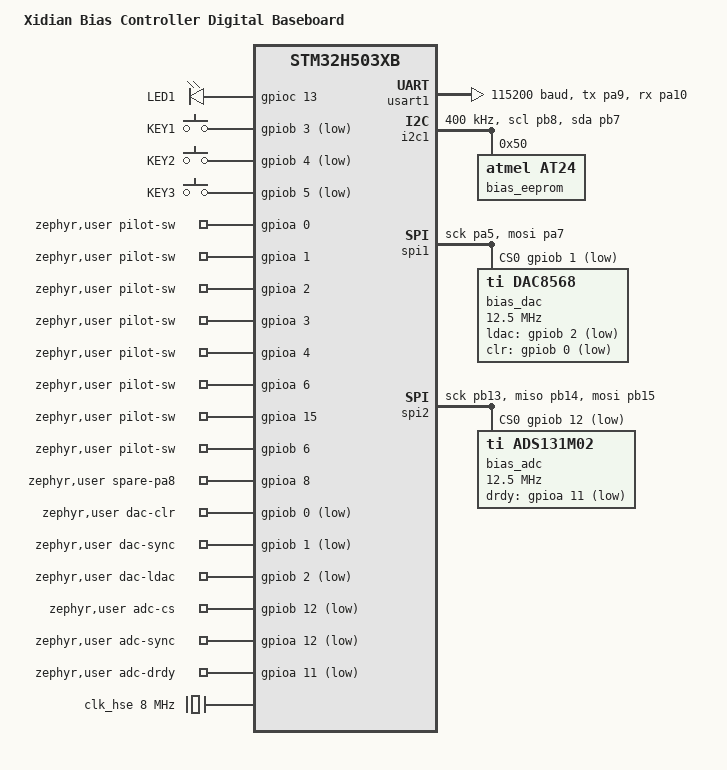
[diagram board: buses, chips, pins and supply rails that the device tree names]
/* SPDX-License-Identifier: Apache-2.0 */

/dts-v1/;
#include <st/h5/stm32h503Xb.dtsi>
#include <st/h5/stm32h503cbtx-pinctrl.dtsi>
#include <zephyr/dt-bindings/dma/stm32_dma.h>
#include <zephyr/dt-bindings/gpio/stm32-gpio.h>
#include <zephyr/dt-bindings/input/input-event-codes.h>

/ {
	model = "Xidian Bias Controller Digital Baseboard";
	compatible = "xidian,biasctrl-h503";

	chosen {
		zephyr,console = &usart1;
		zephyr,shell-uart = &usart1;
		zephyr,sram = &sram0;
		zephyr,flash = &flash0;
	};

	aliases {
		led0 = &led1;
		sw0 = &key1;
		sw1 = &key2;
		sw2 = &key3;
	};

	leds {
		compatible = "gpio-leds";

		led1: led-1 {
			gpios = <&gpioc 13 GPIO_ACTIVE_HIGH>;
			label = "LED1";
		};
	};

	keys {
		compatible = "gpio-keys";

		key1: key-1 {
			gpios = <&gpiob 3 (GPIO_PULL_UP | GPIO_ACTIVE_LOW)>;
			zephyr,code = <INPUT_KEY_1>;
			label = "KEY1";
		};
		key2: key-2 {
			gpios = <&gpiob 4 (GPIO_PULL_UP | GPIO_ACTIVE_LOW)>;
			zephyr,code = <INPUT_KEY_2>;
			label = "KEY2";
		};
		key3: key-3 {
			gpios = <&gpiob 5 (GPIO_PULL_UP | GPIO_ACTIVE_LOW)>;
			zephyr,code = <INPUT_KEY_3>;
			label = "KEY3";
		};
	};

	zephyr,user {
		pilot-sw-gpios = <&gpioa 0 (GPIO_ACTIVE_HIGH | STM32_GPIO_LOW_SPEED)>,
				 <&gpioa 1 (GPIO_ACTIVE_HIGH | STM32_GPIO_LOW_SPEED)>,
				 <&gpioa 2 (GPIO_ACTIVE_HIGH | STM32_GPIO_LOW_SPEED)>,
				 <&gpioa 3 (GPIO_ACTIVE_HIGH | STM32_GPIO_LOW_SPEED)>,
				 <&gpioa 4 (GPIO_ACTIVE_HIGH | STM32_GPIO_LOW_SPEED)>,
				 <&gpioa 6 (GPIO_ACTIVE_HIGH | STM32_GPIO_LOW_SPEED)>,
				 <&gpioa 15 (GPIO_ACTIVE_HIGH | STM32_GPIO_LOW_SPEED)>,
				 <&gpiob 6 (GPIO_ACTIVE_HIGH | STM32_GPIO_LOW_SPEED)>;
		spare-pa8-gpios = <&gpioa 8 (GPIO_ACTIVE_HIGH | STM32_GPIO_LOW_SPEED)>;
		dac-clr-gpios = <&gpiob 0 (GPIO_ACTIVE_LOW | STM32_GPIO_LOW_SPEED)>;
		dac-sync-gpios = <&gpiob 1 (GPIO_ACTIVE_LOW | STM32_GPIO_LOW_SPEED)>;
		dac-ldac-gpios = <&gpiob 2 (GPIO_ACTIVE_LOW | STM32_GPIO_LOW_SPEED)>;
		adc-cs-gpios = <&gpiob 12 (GPIO_ACTIVE_LOW | STM32_GPIO_LOW_SPEED)>;
		adc-sync-gpios = <&gpioa 12 (GPIO_ACTIVE_LOW | STM32_GPIO_LOW_SPEED)>;
		adc-drdy-gpios = <&gpioa 11 (GPIO_ACTIVE_LOW | STM32_GPIO_LOW_SPEED)>;
	};
};

&clk_hse {
	clock-frequency = <DT_FREQ_M(8)>;
	status = "okay";
};

&pll {
	clocks = <&clk_hse>;
	div-m = <2>;
	mul-n = <125>;
	div-p = <2>;
	div-q = <5>;
	div-r = <2>;
	status = "okay";
};

&rcc {
	clocks = <&pll>;
	clock-frequency = <DT_FREQ_M(250)>;
	ahb-prescaler = <1>;
	apb1-prescaler = <1>;
	apb2-prescaler = <1>;
	apb3-prescaler = <1>;
};

&usart1 {
	pinctrl-0 = <&usart1_tx_pa9 &usart1_rx_pa10>;
	pinctrl-names = "default";
	current-speed = <115200>;
	status = "okay";
};

&i2c1 {
	pinctrl-0 = <&i2c1_scl_pb8 &i2c1_sda_pb7>;
	pinctrl-names = "default";
	clock-frequency = <I2C_BITRATE_FAST>;
	status = "okay";

	bias_eeprom: eeprom@50 {
		compatible = "atmel,at24";
		reg = <0x50>;
		size = <256>;
		pagesize = <8>;
		address-width = <8>;
		timeout = <5>;
	};
};

&gpdma1 {
	status = "okay";
};

&spi1 {
	pinctrl-0 = <&spi1_sck_pa5 &spi1_mosi_pa7>;
	pinctrl-names = "default";
	cs-gpios = <&gpiob 1 (GPIO_ACTIVE_LOW | STM32_GPIO_LOW_SPEED)>;
	dmas = <&gpdma1 0 7 STM32_DMA_PERIPH_TX>,
	       <&gpdma1 1 6 STM32_DMA_PERIPH_RX>;
	dma-names = "tx", "rx";
	status = "okay";

	bias_dac: dac@0 {
		compatible = "ti,dac8568";
		reg = <0>;
		spi-max-frequency = <12500000>;
		spi-cpha;
		ldac-gpios = <&gpiob 2 (GPIO_ACTIVE_LOW | STM32_GPIO_LOW_SPEED)>;
		clr-gpios = <&gpiob 0 (GPIO_ACTIVE_LOW | STM32_GPIO_LOW_SPEED)>;
	};
};

&spi2 {
	pinctrl-0 = <&spi2_sck_pb13 &spi2_miso_pb14 &spi2_mosi_pb15>;
	pinctrl-names = "default";
	cs-gpios = <&gpiob 12 (GPIO_ACTIVE_LOW | STM32_GPIO_LOW_SPEED)>;
	dmas = <&gpdma1 2 9 (STM32_DMA_PERIPH_TX | STM32_DMA_PRIORITY_HIGH)>,
	       <&gpdma1 3 8 (STM32_DMA_PERIPH_RX | STM32_DMA_PRIORITY_HIGH)>;
	dma-names = "tx", "rx";
	status = "okay";

	bias_adc: adc@0 {
		compatible = "ti,ads131m02";
		reg = <0>;
		#io-channel-cells = <1>;
		spi-max-frequency = <12500000>;
		spi-cpha;
		drdy-gpios = <&gpioa 11 (GPIO_ACTIVE_LOW | STM32_GPIO_LOW_SPEED)>;
	};
};

&i2c1_scl_pb8 {
	slew-rate = "low-speed";
};

&i2c1_sda_pb7 {
	slew-rate = "low-speed";
};

/* FPC2 ribbon signals */
&spi1_sck_pa5 {
	slew-rate = "low-speed";
};

&spi1_mosi_pa7 {
	slew-rate = "low-speed";
};

&spi2_sck_pb13 {
	slew-rate = "low-speed";
};

&spi2_miso_pb14 {
	slew-rate = "low-speed";
};

&spi2_mosi_pb15 {
	slew-rate = "low-speed";
};
